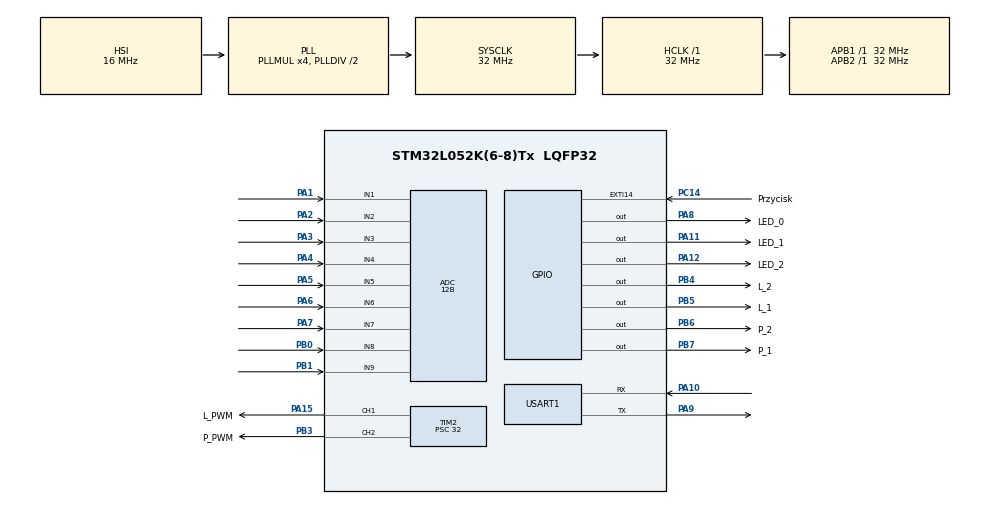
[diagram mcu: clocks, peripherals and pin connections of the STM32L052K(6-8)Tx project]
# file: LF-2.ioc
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ADC.ClockPrescaler=ADC_CLOCK_ASYNC_DIV1
ADC.ContinuousConvMode=ENABLE
ADC.DMAContinuousRequests=ENABLE
ADC.EOCSelection=ADC_EOC_SINGLE_CONV
ADC.EnableAnalogWatchDog=false
ADC.Overrun=ADC_OVR_DATA_OVERWRITTEN
ADC.Resolution=ADC_RESOLUTION_12B
ADC.SamplingTime=ADC_SAMPLETIME_39CYCLES_5
ADC.ScanConvMode=ADC_SCAN_DIRECTION_FORWARD
Dma.ADC.0.Direction=DMA_PERIPH_TO_MEMORY
Dma.ADC.0.Instance=DMA1_Channel1
Dma.ADC.0.MemDataAlignment=DMA_MDATAALIGN_HALFWORD
Dma.ADC.0.MemInc=DMA_MINC_ENABLE
Dma.ADC.0.Mode=DMA_CIRCULAR
Dma.ADC.0.PeriphDataAlignment=DMA_PDATAALIGN_HALFWORD
Dma.ADC.0.PeriphInc=DMA_PINC_DISABLE
Dma.ADC.0.Priority=DMA_PRIORITY_LOW
Dma.Request0=ADC
Mcu.Family=STM32L0
Mcu.Name=STM32L052K(6-8)Tx
Mcu.Package=LQFP32
NVIC.DMA1_Channel1_IRQn=true\:0\:0\:false\:false\:true\:false\:true
NVIC.EXTI4_15_IRQn=true\:0\:0\:false\:false\:true\:true\:true
NVIC.TIM21_IRQn=true\:0\:0\:false\:false\:true\:true\:true
NVIC.TIM6_DAC_IRQn=true\:0\:0\:false\:false\:true\:true\:true
PA1.Mode=IN1
PA1.Signal=ADC_IN1
PA10.Mode=Asynchronous
PA10.Signal=USART1_RX
PA11.GPIO_Label=LED_1
PA11.Signal=GPIO_Output
PA12.GPIO_Label=LED_2
PA12.Signal=GPIO_Output
PA13.Mode=Serial_Wire
PA13.Signal=SYS_SWDIO
PA14.Mode=Serial_Wire
PA14.Signal=SYS_SWCLK
PA15.GPIO_Label=L_PWM
PA15.Signal=S_TIM2_CH1
PA2.Mode=IN2
PA2.Signal=ADC_IN2
PA3.Mode=IN3
PA3.Signal=ADC_IN3
PA4.Mode=IN4
PA4.Signal=ADC_IN4
PA5.Mode=IN5
PA5.Signal=ADC_IN5
PA6.Mode=IN6
PA6.Signal=ADC_IN6
PA7.Mode=IN7
PA7.Signal=ADC_IN7
PA8.GPIO_Label=LED_0
PA8.Signal=GPIO_Output
PA9.Mode=Asynchronous
PA9.Signal=USART1_TX
PB0.Mode=IN8
PB0.Signal=ADC_IN8
PB1.Mode=IN9
PB1.Signal=ADC_IN9
PB3.GPIO_Label=P_PWM
PB3.Signal=S_TIM2_CH2
PB4.GPIO_Label=L_2
PB4.Signal=GPIO_Output
PB5.GPIO_Label=L_1
PB5.Signal=GPIO_Output
PB6.GPIO_Label=P_2
PB6.Signal=GPIO_Output
PB7.GPIO_Label=P_1
PB7.Signal=GPIO_Output
PC14-OSC32_IN.GPIO_Label=Przycisk
PC14-OSC32_IN.Signal=GPXTI14
ProjectManager.HeapSize=0x200
ProjectManager.StackSize=0x400
ProjectManager.TargetToolchain=STM32CubeIDE
RCC.AHBFreq_Value=32000000
RCC.APB1Freq_Value=32000000
RCC.APB1TimFreq_Value=32000000
RCC.APB2Freq_Value=32000000
RCC.APB2TimFreq_Value=32000000
RCC.HCLKFreq_Value=32000000
RCC.HSI16_VALUE=16000000
RCC.HSI48_VALUE=48000000
RCC.HSI_VALUE=16000000
RCC.LSE_VALUE=32768
RCC.MSI_VALUE=2097000
RCC.PLLMUL=RCC_PLLMUL_4
RCC.SYSCLKFreq_VALUE=32000000
RCC.SYSCLKSource=RCC_SYSCLKSOURCE_PLLCLK
RCC.VCOOutputFreq_Value=64000000
SH.S_TIM2_CH1.0=TIM2_CH1,PWM Generation1 CH1
SH.S_TIM2_CH2.0=TIM2_CH2,PWM Generation2 CH2
TIM2.Channel-PWM\ Generation1\ CH1=TIM_CHANNEL_1
TIM2.Channel-PWM\ Generation2\ CH2=TIM_CHANNEL_2
TIM2.Period=999
TIM2.Prescaler=32
TIM21.Channel-PWM\ Generation1\ No\ Output=TIM_CHANNEL_1
TIM21.Period=999
TIM21.Prescaler=32000
TIM6.Period=999
TIM6.Prescaler=0
USART1.VirtualMode-Asynchronous=VM_ASYNC
VP_TIM21_VS_ClockSourceINT.Mode=Internal
VP_TIM21_VS_no_output1.Mode=PWM Generation1 No Output
VP_TIM2_VS_ClockSourceINT.Mode=Internal
VP_TIM6_VS_ClockSourceINT.Mode=Enable_Timer
board=custom

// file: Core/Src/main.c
/* USER CODE BEGIN Header */
/**
  ******************************************************************************
  * @file           : main.c
  * @brief          : Main program body
  ******************************************************************************
  * @attention
  *
  * <h2><center>&copy; Copyright (c) 2020 STMicroelectronics.
  * All rights reserved.</center></h2>
  *
  * This software component is licensed by ST under BSD 3-Clause license,
  * the "License"; You may not use this file except in compliance with the
  * License. You may obtain a copy of the License at:
  *                        opensource.org/licenses/BSD-3-Clause
  *
  ******************************************************************************
  */
/* USER CODE END Header */

#include "main.h"

/* USER CODE BEGIN PM */
#define VMED 350
#define KP 6
#define KD 5
#define PRZESTRZAL 140
#define SPEED_1 75
#define SPEED_2 50
#define SPEED_3 35
#define DZIELNIK 15
/* USER CODE END PM */

ADC_HandleTypeDef hadc;
DMA_HandleTypeDef hdma_adc;

TIM_HandleTypeDef htim2;
TIM_HandleTypeDef htim6;
TIM_HandleTypeDef htim21;

UART_HandleTypeDef huart1;

/* USER CODE BEGIN PV */
int predkosc_zadana = VMED;									//Predkosc zadana
uint16_t prog = 0; 								//Prog wykrycia czarnej linii
uint32_t pomiar[9];								//Wartosci pomiaru z czujnikow
uint16_t czujniki[9];						//Flaga wykrycia linii na czujniku
int wzor_wag[9] = { -75, -50, -35, -16, 0, 16, 35, 50, 75 };
int wagi[9];						//Wagi kazdego z czujnikow
int korekta = 0;								//Korekta predkosci obrotu kol
int poprzednia_korekta = 0;									//Poprzednia korekta
int przestrzelony = 0;								//Czy przestrzelono zakret
int Kp = KP, Kd = KD;										//Zmienne kp i kd
int regulacja = 0;										//Wartosc regulacji PD
int start = 0;												//FLaga startu jazdy
int zacznij_pomiar = 0;						//Flaga poczatku analizy pomiarow
int lewy_silnik;											//PWM lewego silnika
int prawy_silnik;										//PWM prawego silnika
int inicjuj = 0;
int kat_prosty = 0;
int chyba_kat_prosty = 0;
/* USER CODE END PV */

void SystemClock_Config(void);
static void MX_GPIO_Init(void);
static void MX_DMA_Init(void);
static void MX_ADC_Init(void);
static void MX_TIM2_Init(void);
static void MX_TIM6_Init(void);
static void MX_USART1_UART_Init(void);
static void MX_TIM21_Init(void);
/* USER CODE BEGIN PFP */

void HAL_GPIO_EXTI_Callback(uint16_t GPIO_Pin) {

	if (start == 1) {
		start = 0;
	} else if (start == 0) {
		start = 1;
		inicjuj = 1;
	};

	HAL_GPIO_TogglePin(LED_2_GPIO_Port, LED_2_Pin);

}

int abs(int zmienna) {
	if (zmienna < 0) {
		zmienna = -zmienna;
	};
	return zmienna;
}

void analiza_czujnikow(uint32_t wartosci[9]) {

	czujniki[0] = wartosci[8];
	czujniki[1] = wartosci[7];
	czujniki[2] = wartosci[6];
	czujniki[3] = wartosci[5];
	czujniki[4] = wartosci[4];
	czujniki[5] = wartosci[0];
	czujniki[6] = wartosci[1];
	czujniki[7] = wartosci[2];
	czujniki[8] = wartosci[3];

	for (int i = 0; i < 9; ++i) {
		if (czujniki[i] > prog) {
			czujniki[i] = 1;
		} else {
			czujniki[i] = 0;
		};
	};

	kat_prosty = 0;

	if (czujniki[2] + czujniki[3] + czujniki[4] == 3
			&& czujniki[5] + czujniki[6] == 0) {
		kat_prosty = -1;
		przestrzelony = -1;
	} else if (czujniki[6] + czujniki[4] + czujniki[5] == 3
			&& czujniki[2] + czujniki[3] == 0) {
		kat_prosty = 1;
		przestrzelony = 1;
	};

}

int analiza_polozenia() {
	int error = 0;
	int ile = 0;
	int dzielnik = 1;

	// Wolniejsza jazda na zakr�tach

	if (czujniki[0] + czujniki[8] > 0) {
		predkosc_zadana = SPEED_3 * VMED / 100;
		Kp = KP+10;
	} else if (czujniki[1] + czujniki[7] > 0) {
		predkosc_zadana = SPEED_2 * VMED / 100;
		Kp = KP+6;
	} else if (czujniki[2] + czujniki[6] > 0) {
		predkosc_zadana = SPEED_1 * VMED / 100;
		Kp = KP+3;
	} else if (czujniki[3] + czujniki[4] + czujniki[5] > 0) {
		predkosc_zadana = VMED;
		Kp = KP;
	};

	//Nowe wagi dla aktualnej predkosci

	for (int i = 0; i < 9; ++i) {
		wagi[i] = (wzor_wag[i] * predkosc_zadana) / 100;
	};

	//Jezeli przestrzelony to zmniejsz reakcje po powrocie na tras�

	if (przestrzelony != 0) {
		dzielnik = DZIELNIK;
	};

	//Nadanie warto�ci czujnikom

	for (int i = 0; i < 9; ++i) {
		error += czujniki[i] * wagi[i] / dzielnik;
		ile += czujniki[i];
	};

	//Je�li wykrywa lini� to jedzie wed�ug czujnik�w

	if (ile > 0) {
		error /= ile;
	} else if (ile == 0) {

		// Obs�uga przestrzelenia

		if (poprzednia_korekta > wagi[7]) {
			error = wagi[8]*PRZESTRZAL/100;
			przestrzelony = 1;

		} else if (poprzednia_korekta < wagi[1]) {
			error = wagi[0]*PRZESTRZAL/100;
			przestrzelony = -1;
		} else {
			error = poprzednia_korekta;
		};
	};

	//Usuniecie flagi przestrzelenia gdy wroci na tor

	if (przestrzelony == 1 && error <= wagi[5]) {
		przestrzelony = 0;
	} else if (przestrzelony == -1 && error >= wagi[3]) {
		przestrzelony = 0;
	};
	return error;
}

int PD() {
	int rozniczka = 0;
	rozniczka = korekta - poprzednia_korekta;
	poprzednia_korekta = korekta;
	return Kp * korekta / 10 + Kd * rozniczka / 100;
}

void HAL_TIM_PeriodElapsedCallback(TIM_HandleTypeDef *htim) {

	if (htim->Instance == TIM6) {
		analiza_czujnikow(pomiar);
		korekta = analiza_polozenia();
		regulacja = PD();
		lewy_silnik = predkosc_zadana + regulacja;
		prawy_silnik = predkosc_zadana - regulacja;
	};

	if (htim->Instance == TIM21) {
		HAL_GPIO_TogglePin(LED_0_GPIO_Port, LED_0_Pin);
	};
}
;

void PWM(int lewy, int prawy) {
	if (lewy >= 0) {
		if (lewy > 999) {
			lewy = 999;
		};
		HAL_GPIO_WritePin(L_1_GPIO_Port, L_1_Pin, 1);
		HAL_GPIO_WritePin(L_2_GPIO_Port, L_2_Pin, 0);
	} else if (lewy < 0) {
		if (lewy < -999) {
			lewy = -999;
		};
		HAL_GPIO_WritePin(L_1_GPIO_Port, L_1_Pin, 0);
		HAL_GPIO_WritePin(L_2_GPIO_Port, L_2_Pin, 1);
	};

	if (prawy >= 0) {
		if (prawy > 999) {
			prawy = 999;
		};
		HAL_GPIO_WritePin(P_1_GPIO_Port, P_1_Pin, 1);
		HAL_GPIO_WritePin(P_2_GPIO_Port, P_2_Pin, 0);
	} else if (prawy < 0) {
		if (prawy < -999) {
			prawy = -999;
		};
		HAL_GPIO_WritePin(P_1_GPIO_Port, P_1_Pin, 0);
		HAL_GPIO_WritePin(P_2_GPIO_Port, P_2_Pin, 1);
	};

	TIM2->CCR1 = abs(lewy);
	TIM2->CCR2 = abs(prawy);
}
/* USER CODE END PFP */

int main(void)
{

  /* MCU Configuration--------------------------------------------------------*/

  /* Reset of all peripherals, Initializes the Flash interface and the Systick. */
  HAL_Init();

  /* Configure the system clock */
  SystemClock_Config();

  /* Initialize all configured peripherals */
  MX_GPIO_Init();
  MX_DMA_Init();
  MX_ADC_Init();
  MX_TIM2_Init();
  MX_TIM6_Init();
  MX_USART1_UART_Init();
  MX_TIM21_Init();
  /* USER CODE BEGIN 2 */
  HAL_ADC_Start_DMA(&hadc, pomiar, 9);
  HAL_TIM_PWM_Start(&htim2, TIM_CHANNEL_1);
  HAL_TIM_PWM_Start(&htim2, TIM_CHANNEL_2);
  HAL_TIM_Base_Start_IT(&htim6);
  HAL_TIM_Base_Start_IT(&htim21);
  /* USER CODE END 2 */

  /* Infinite loop */
  /* USER CODE BEGIN WHILE */
  while (1)
  {
	  HAL_Delay(1000);
	  HAL_GPIO_TogglePin(LED_1_GPIO_Port, LED_1_Pin);
	  /*
	  if (inicjuj == 1) {
	 		prog = pomiar[8] + (pomiar[4] - pomiar[8]) * 2 / 3;
	 		HAL_Delay(2000);
	 		inicjuj = 0;
	 	  };
	  if (zacznij_pomiar == 1) {
		analiza_czujnikow(pomiar);
		korekta = analiza_polozenia();
		regulacja = PD();

		zacznij_pomiar = 0;
		lewy_silnik = predkosc_zadana + regulacja;
		prawy_silnik = predkosc_zadana - regulacja;
	  };
	  if (start == 1) {
		//if (kat_prosty == 0) {

		PWM(lewy_silnik, prawy_silnik);
		/*
		 } else if (kat_prosty == 1) {
		 przestrzelony = 1;
		 HAL_GPIO_WritePin(LED_1_GPIO_Port, LED_1_Pin, 1);
		 PWM(VMED / 3, 5);
		 HAL_Delay(33 * 8900 / VMED);
		 HAL_GPIO_WritePin(LED_1_GPIO_Port, LED_1_Pin, 0);
		 } else if (kat_prosty == -1) {
		 przestrzelony = -1;
		 HAL_GPIO_WritePin(LED_1_GPIO_Port, LED_1_Pin, 1);
		 PWM(5, VMED / 3);
		 HAL_Delay(33 * 8900 / VMED);
		 HAL_GPIO_WritePin(LED_1_GPIO_Port, LED_1_Pin, 0);
		 };*/
	  /*} else if (start == 0) {
		lewy_silnik = 0;
		prawy_silnik = 0;
		PWM(lewy_silnik, prawy_silnik);
	  };
    /* USER CODE END WHILE */

    /* USER CODE BEGIN 3 */
	 /* HAL_Delay(1000);
	  HAL_GPIO_TogglePin(LED_0_GPIO_Port, LED_0_Pin);
	  HAL_Delay(1000);
	  HAL_GPIO_TogglePin(LED_1_GPIO_Port, LED_1_Pin);
	  HAL_Delay(1000);
	  HAL_GPIO_TogglePin(LED_2_GPIO_Port, LED_2_Pin);
	  */
  }
  /* USER CODE END 3 */
}

void SystemClock_Config(void)
{
  RCC_OscInitTypeDef RCC_OscInitStruct = {0};
  RCC_ClkInitTypeDef RCC_ClkInitStruct = {0};
  RCC_PeriphCLKInitTypeDef PeriphClkInit = {0};

  /** Configure the main internal regulator output voltage
  */
  __HAL_PWR_VOLTAGESCALING_CONFIG(PWR_REGULATOR_VOLTAGE_SCALE1);
  /** Initializes the CPU, AHB and APB busses clocks
  */
  RCC_OscInitStruct.OscillatorType = RCC_OSCILLATORTYPE_HSI;
  RCC_OscInitStruct.HSIState = RCC_HSI_ON;
  RCC_OscInitStruct.HSICalibrationValue = RCC_HSICALIBRATION_DEFAULT;
  RCC_OscInitStruct.PLL.PLLState = RCC_PLL_ON;
  RCC_OscInitStruct.PLL.PLLSource = RCC_PLLSOURCE_HSI;
  RCC_OscInitStruct.PLL.PLLMUL = RCC_PLLMUL_4;
  RCC_OscInitStruct.PLL.PLLDIV = RCC_PLLDIV_2;
  if (HAL_RCC_OscConfig(&RCC_OscInitStruct) != HAL_OK)
  {
    Error_Handler();
  }
  /** Initializes the CPU, AHB and APB busses clocks
  */
  RCC_ClkInitStruct.ClockType = RCC_CLOCKTYPE_HCLK|RCC_CLOCKTYPE_SYSCLK
                              |RCC_CLOCKTYPE_PCLK1|RCC_CLOCKTYPE_PCLK2;
  RCC_ClkInitStruct.SYSCLKSource = RCC_SYSCLKSOURCE_PLLCLK;
  RCC_ClkInitStruct.AHBCLKDivider = RCC_SYSCLK_DIV1;
  RCC_ClkInitStruct.APB1CLKDivider = RCC_HCLK_DIV1;
  RCC_ClkInitStruct.APB2CLKDivider = RCC_HCLK_DIV1;

  if (HAL_RCC_ClockConfig(&RCC_ClkInitStruct, FLASH_LATENCY_1) != HAL_OK)
  {
    Error_Handler();
  }
  PeriphClkInit.PeriphClockSelection = RCC_PERIPHCLK_USART1;
  PeriphClkInit.Usart1ClockSelection = RCC_USART1CLKSOURCE_PCLK2;
  if (HAL_RCCEx_PeriphCLKConfig(&PeriphClkInit) != HAL_OK)
  {
    Error_Handler();
  }
}

static void MX_ADC_Init(void)
{

  ADC_ChannelConfTypeDef sConfig = {0};

  /** Configure the global features of the ADC (Clock, Resolution, Data Alignment and number of conversion)
  */
  hadc.Instance = ADC1;
  hadc.Init.OversamplingMode = DISABLE;
  hadc.Init.ClockPrescaler = ADC_CLOCK_ASYNC_DIV1;
  hadc.Init.Resolution = ADC_RESOLUTION_12B;
  hadc.Init.SamplingTime = ADC_SAMPLETIME_39CYCLES_5;
  hadc.Init.ScanConvMode = ADC_SCAN_DIRECTION_FORWARD;
  hadc.Init.DataAlign = ADC_DATAALIGN_RIGHT;
  hadc.Init.ContinuousConvMode = ENABLE;
  hadc.Init.DiscontinuousConvMode = DISABLE;
  hadc.Init.ExternalTrigConvEdge = ADC_EXTERNALTRIGCONVEDGE_NONE;
  hadc.Init.ExternalTrigConv = ADC_SOFTWARE_START;
  hadc.Init.DMAContinuousRequests = ENABLE;
  hadc.Init.EOCSelection = ADC_EOC_SINGLE_CONV;
  hadc.Init.Overrun = ADC_OVR_DATA_OVERWRITTEN;
  hadc.Init.LowPowerAutoWait = DISABLE;
  hadc.Init.LowPowerFrequencyMode = DISABLE;
  hadc.Init.LowPowerAutoPowerOff = DISABLE;
  if (HAL_ADC_Init(&hadc) != HAL_OK)
  {
    Error_Handler();
  }
  /** Configure for the selected ADC regular channel to be converted.
  */
  sConfig.Channel = ADC_CHANNEL_1;
  sConfig.Rank = ADC_RANK_CHANNEL_NUMBER;
  if (HAL_ADC_ConfigChannel(&hadc, &sConfig) != HAL_OK)
  {
    Error_Handler();
  }
  /** Configure for the selected ADC regular channel to be converted.
  */
  sConfig.Channel = ADC_CHANNEL_2;
  if (HAL_ADC_ConfigChannel(&hadc, &sConfig) != HAL_OK)
  {
    Error_Handler();
  }
  /** Configure for the selected ADC regular channel to be converted.
  */
  sConfig.Channel = ADC_CHANNEL_3;
  if (HAL_ADC_ConfigChannel(&hadc, &sConfig) != HAL_OK)
  {
    Error_Handler();
  }
  /** Configure for the selected ADC regular channel to be converted.
  */
  sConfig.Channel = ADC_CHANNEL_4;
  if (HAL_ADC_ConfigChannel(&hadc, &sConfig) != HAL_OK)
  {
    Error_Handler();
  }
  /** Configure for the selected ADC regular channel to be converted.
  */
  sConfig.Channel = ADC_CHANNEL_5;
  if (HAL_ADC_ConfigChannel(&hadc, &sConfig) != HAL_OK)
  {
    Error_Handler();
  }
  /** Configure for the selected ADC regular channel to be converted.
  */
  sConfig.Channel = ADC_CHANNEL_6;
  if (HAL_ADC_ConfigChannel(&hadc, &sConfig) != HAL_OK)
  {
    Error_Handler();
  }
  /** Configure for the selected ADC regular channel to be converted.
  */
  sConfig.Channel = ADC_CHANNEL_7;
  if (HAL_ADC_ConfigChannel(&hadc, &sConfig) != HAL_OK)
  {
    Error_Handler();
  }
  /** Configure for the selected ADC regular channel to be converted.
  */
  sConfig.Channel = ADC_CHANNEL_8;
  if (HAL_ADC_ConfigChannel(&hadc, &sConfig) != HAL_OK)
  {
    Error_Handler();
  }
  /** Configure for the selected ADC regular channel to be converted.
  */
  sConfig.Channel = ADC_CHANNEL_9;
  if (HAL_ADC_ConfigChannel(&hadc, &sConfig) != HAL_OK)
  {
    Error_Handler();
  }

}

static void MX_TIM2_Init(void)
{

  TIM_ClockConfigTypeDef sClockSourceConfig = {0};
  TIM_MasterConfigTypeDef sMasterConfig = {0};
  TIM_OC_InitTypeDef sConfigOC = {0};

  htim2.Instance = TIM2;
  htim2.Init.Prescaler = 32;
  htim2.Init.CounterMode = TIM_COUNTERMODE_UP;
  htim2.Init.Period = 999;
  htim2.Init.ClockDivision = TIM_CLOCKDIVISION_DIV1;
  htim2.Init.AutoReloadPreload = TIM_AUTORELOAD_PRELOAD_DISABLE;
  if (HAL_TIM_Base_Init(&htim2) != HAL_OK)
  {
    Error_Handler();
  }
  sClockSourceConfig.ClockSource = TIM_CLOCKSOURCE_INTERNAL;
  if (HAL_TIM_ConfigClockSource(&htim2, &sClockSourceConfig) != HAL_OK)
  {
    Error_Handler();
  }
  if (HAL_TIM_PWM_Init(&htim2) != HAL_OK)
  {
    Error_Handler();
  }
  sMasterConfig.MasterOutputTrigger = TIM_TRGO_RESET;
  sMasterConfig.MasterSlaveMode = TIM_MASTERSLAVEMODE_DISABLE;
  if (HAL_TIMEx_MasterConfigSynchronization(&htim2, &sMasterConfig) != HAL_OK)
  {
    Error_Handler();
  }
  sConfigOC.OCMode = TIM_OCMODE_PWM1;
  sConfigOC.Pulse = 0;
  sConfigOC.OCPolarity = TIM_OCPOLARITY_HIGH;
  sConfigOC.OCFastMode = TIM_OCFAST_DISABLE;
  if (HAL_TIM_PWM_ConfigChannel(&htim2, &sConfigOC, TIM_CHANNEL_1) != HAL_OK)
  {
    Error_Handler();
  }
  if (HAL_TIM_PWM_ConfigChannel(&htim2, &sConfigOC, TIM_CHANNEL_2) != HAL_OK)
  {
    Error_Handler();
  }
  HAL_TIM_MspPostInit(&htim2);

}

static void MX_TIM6_Init(void)
{

  TIM_MasterConfigTypeDef sMasterConfig = {0};

  htim6.Instance = TIM6;
  htim6.Init.Prescaler = 0;
  htim6.Init.CounterMode = TIM_COUNTERMODE_UP;
  htim6.Init.Period = 999;
  htim6.Init.AutoReloadPreload = TIM_AUTORELOAD_PRELOAD_DISABLE;
  if (HAL_TIM_Base_Init(&htim6) != HAL_OK)
  {
    Error_Handler();
  }
  sMasterConfig.MasterOutputTrigger = TIM_TRGO_RESET;
  sMasterConfig.MasterSlaveMode = TIM_MASTERSLAVEMODE_DISABLE;
  if (HAL_TIMEx_MasterConfigSynchronization(&htim6, &sMasterConfig) != HAL_OK)
  {
    Error_Handler();
  }

}

static void MX_TIM21_Init(void)
{

  TIM_ClockConfigTypeDef sClockSourceConfig = {0};
  TIM_MasterConfigTypeDef sMasterConfig = {0};
  TIM_OC_InitTypeDef sConfigOC = {0};

  htim21.Instance = TIM21;
  htim21.Init.Prescaler = 32000;
  htim21.Init.CounterMode = TIM_COUNTERMODE_UP;
  htim21.Init.Period = 999;
  htim21.Init.ClockDivision = TIM_CLOCKDIVISION_DIV1;
  htim21.Init.AutoReloadPreload = TIM_AUTORELOAD_PRELOAD_DISABLE;
  if (HAL_TIM_Base_Init(&htim21) != HAL_OK)
  {
    Error_Handler();
  }
  sClockSourceConfig.ClockSource = TIM_CLOCKSOURCE_INTERNAL;
  if (HAL_TIM_ConfigClockSource(&htim21, &sClockSourceConfig) != HAL_OK)
  {
    Error_Handler();
  }
  if (HAL_TIM_PWM_Init(&htim21) != HAL_OK)
  {
    Error_Handler();
  }
  sMasterConfig.MasterOutputTrigger = TIM_TRGO_RESET;
  sMasterConfig.MasterSlaveMode = TIM_MASTERSLAVEMODE_DISABLE;
  if (HAL_TIMEx_MasterConfigSynchronization(&htim21, &sMasterConfig) != HAL_OK)
  {
    Error_Handler();
  }
  sConfigOC.OCMode = TIM_OCMODE_PWM1;
  sConfigOC.Pulse = 0;
  sConfigOC.OCPolarity = TIM_OCPOLARITY_HIGH;
  sConfigOC.OCFastMode = TIM_OCFAST_DISABLE;
  if (HAL_TIM_PWM_ConfigChannel(&htim21, &sConfigOC, TIM_CHANNEL_1) != HAL_OK)
  {
    Error_Handler();
  }

}

static void MX_USART1_UART_Init(void)
{

  huart1.Instance = USART1;
  huart1.Init.BaudRate = 115200;
  huart1.Init.WordLength = UART_WORDLENGTH_8B;
  huart1.Init.StopBits = UART_STOPBITS_1;
  huart1.Init.Parity = UART_PARITY_NONE;
  huart1.Init.Mode = UART_MODE_TX_RX;
  huart1.Init.HwFlowCtl = UART_HWCONTROL_NONE;
  huart1.Init.OverSampling = UART_OVERSAMPLING_16;
  huart1.Init.OneBitSampling = UART_ONE_BIT_SAMPLE_DISABLE;
  huart1.AdvancedInit.AdvFeatureInit = UART_ADVFEATURE_NO_INIT;
  if (HAL_UART_Init(&huart1) != HAL_OK)
  {
    Error_Handler();
  }

}

static void MX_DMA_Init(void)
{

  /* DMA controller clock enable */
  __HAL_RCC_DMA1_CLK_ENABLE();

  /* DMA interrupt init */
  /* DMA1_Channel1_IRQn interrupt configuration */
  HAL_NVIC_SetPriority(DMA1_Channel1_IRQn, 0, 0);
  HAL_NVIC_EnableIRQ(DMA1_Channel1_IRQn);

}

static void MX_GPIO_Init(void)
{
  GPIO_InitTypeDef GPIO_InitStruct = {0};

  /* GPIO Ports Clock Enable */
  __HAL_RCC_GPIOC_CLK_ENABLE();
  __HAL_RCC_GPIOA_CLK_ENABLE();
  __HAL_RCC_GPIOB_CLK_ENABLE();

  /*Configure GPIO pin Output Level */
  HAL_GPIO_WritePin(GPIOA, LED_0_Pin|LED_1_Pin|LED_2_Pin, GPIO_PIN_RESET);

  /*Configure GPIO pin Output Level */
  HAL_GPIO_WritePin(GPIOB, L_2_Pin|L_1_Pin|P_2_Pin|P_1_Pin, GPIO_PIN_RESET);

  /*Configure GPIO pin : Przycisk_Pin */
  GPIO_InitStruct.Pin = Przycisk_Pin;
  GPIO_InitStruct.Mode = GPIO_MODE_IT_RISING;
  GPIO_InitStruct.Pull = GPIO_NOPULL;
  HAL_GPIO_Init(Przycisk_GPIO_Port, &GPIO_InitStruct);

  /*Configure GPIO pins : LED_0_Pin LED_1_Pin LED_2_Pin */
  GPIO_InitStruct.Pin = LED_0_Pin|LED_1_Pin|LED_2_Pin;
  GPIO_InitStruct.Mode = GPIO_MODE_OUTPUT_PP;
  GPIO_InitStruct.Pull = GPIO_NOPULL;
  GPIO_InitStruct.Speed = GPIO_SPEED_FREQ_LOW;
  HAL_GPIO_Init(GPIOA, &GPIO_InitStruct);

  /*Configure GPIO pins : L_2_Pin L_1_Pin P_2_Pin P_1_Pin */
  GPIO_InitStruct.Pin = L_2_Pin|L_1_Pin|P_2_Pin|P_1_Pin;
  GPIO_InitStruct.Mode = GPIO_MODE_OUTPUT_PP;
  GPIO_InitStruct.Pull = GPIO_NOPULL;
  GPIO_InitStruct.Speed = GPIO_SPEED_FREQ_LOW;
  HAL_GPIO_Init(GPIOB, &GPIO_InitStruct);

  /* EXTI interrupt init*/
  HAL_NVIC_SetPriority(EXTI4_15_IRQn, 0, 0);
  HAL_NVIC_EnableIRQ(EXTI4_15_IRQn);

}

void Error_Handler(void)
{
}

/************************ (C) COPYRIGHT STMicroelectronics *****END OF FILE****/
